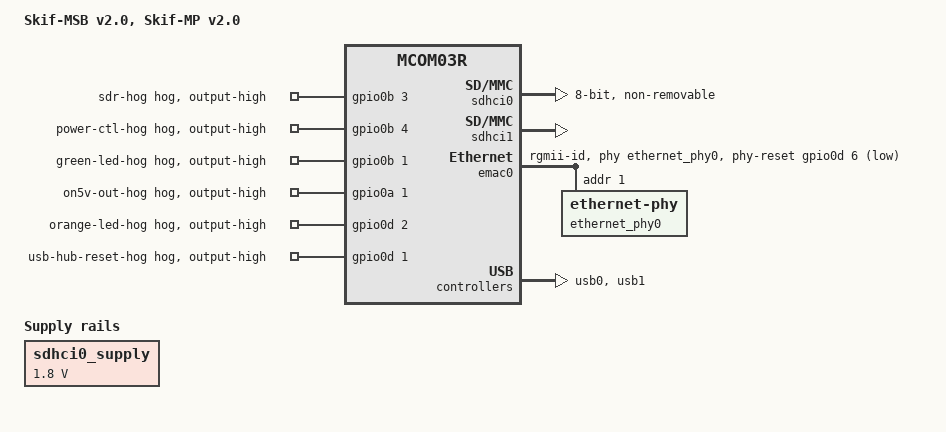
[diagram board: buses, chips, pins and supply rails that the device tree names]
// SPDX-License-Identifier: GPL-2.0+
// Copyright 2025 RnD Center "ELVEES", JSC

/dts-v1/;

#include "mcom03r-skifmsb-v2.0.dtsi"

/ {
	model = "Skif-MSB v2.0, Skif-MP v2.0";
	compatible = "elvees,skifmsb-v2.0-skifmp-v2.0",
		     "elvees,skifmsb-skifmp",
		     "elvees,skifmp-v2.0",
		     "elvees,skifmp",
		     "elvees,skifmsb-v2.0",
		     "elvees,skifmsb",
		     "elvees,mcom03r";

	sdhci0_supply: regulator@0 {
		compatible = "regulator-fixed";
		regulator-name = "sdhci0-supply";
		regulator-min-microvolt = <1800000>;
		regulator-max-microvolt = <1800000>;
		regulator-always-on;
	};
};

/* Pin for voltage supply for SDR subsystem. */
&gpio0b {
	sdr-hog {
		gpio-hog;
		gpios = <3 GPIO_ACTIVE_HIGH>;
		output-high;
	};
};

/* Pin for device power management.
 * 'high' - device is power on.
 * 'low' - device is power off.
 */
&gpio0b {
	power-ctl-hog {
		gpio-hog;
		gpios = <4 GPIO_ACTIVE_HIGH>;
		output-high;
	};
};

/* Pin for voltage supply of 5V
 * on USB-hub, HDMI and green led.
 */
&gpio0a {
	on5v-out-hog {
		gpio-hog;
		gpios = <1 GPIO_ACTIVE_HIGH>;
		output-high;
	};
};

&gpio0b {
	green-led-hog {
		gpio-hog;
		gpios = <1 GPIO_ACTIVE_HIGH>;
		output-high;
	};
};

&gpio0d {
	orange-led-hog {
		gpio-hog;
		gpios = <2 GPIO_ACTIVE_HIGH>;
		output-high;
	};
};

&gpio0d {
	usb-hub-reset-hog {
		gpio-hog;
		gpios = <1 GPIO_ACTIVE_HIGH>;
		output-high;
	};
};

/* Connected to eMMC */
&sdhci0 {
	status = "okay";

	non-removable;
	bus-width = <8>;

	vqmmc-supply = <&sdhci0_supply>;
};

/* Connected to MicroSD card */
&sdhci1 {
	status = "okay";

	/* TODO: Check higher frequencies */
	max-frequency = <12000000>;

	/* Disable High Speed support
	 * Disable 1.8V support
	 * Disable SDR50, SDR104 and DDR50 support
	 */
	sdhci-caps-mask = <0x7 0x4200000>;
	sdhci-caps = <0x0 0x0>;

	disable-wp;
};

&emac0 {
	status = "okay";

	phy-mode = "rgmii-id";
	phy-reset-gpios = <&gpio0d 6 GPIO_ACTIVE_LOW>;
	phy-handle = <&ethernet_phy0>;

	ethernet_phy0: ethernet-phy@1 {
		reg = <0x1>;
		motorcomm,clk-out-frequency-hz = <0>;
		rx-internal-delay-ps = <1800>;
		tx-internal-delay-ps = <1200>;
	};
};

/* Connected to USB 3.0 Type-A */
&usb0 {
	status = "okay";
};

/* Connected to USB 2.0 hub */
&usb1 {
	status = "okay";
};
